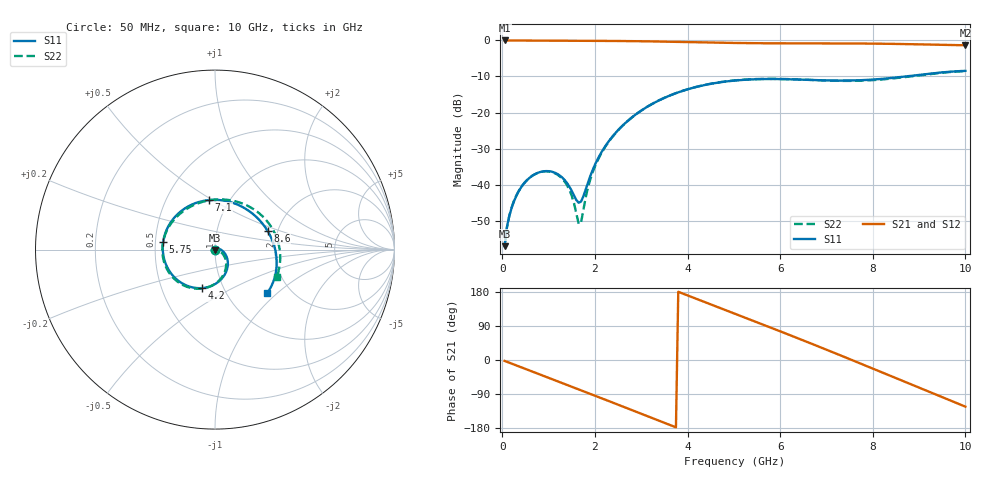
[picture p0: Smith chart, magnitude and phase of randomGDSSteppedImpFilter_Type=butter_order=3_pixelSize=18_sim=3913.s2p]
! freq	dB(S11)	phase(S11)	dB(S12)	phase(S12)
!  dB(S21)	phase(S21)	dB(S22)	phase(S22)
!S-par simulation data
#  GHz  S  DB  R 50
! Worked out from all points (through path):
!   200 points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, 50 MHz to 10 GHz, reference 50 ohm
!   highest |S21| = 0.00 dB at 50 MHz (marker M1); lowest = -1.3 dB at 10 GHz (marker M2)
!   group delay of S21, straight-line fit = 134 ps
!   lowest |S11| = -57.1 dB at 50 MHz (marker M3), VSWR 1.00, Z = 50 - j0.139 ohm
!   |S11| at or under -10 dB: start of sweep to 8.702 GHz
!   |S22| runs from -56.9 to -8.5 dB; largest |S21 - S12| = 0
!   S11 on the Smith chart (normalised r, x): 50 MHz: 1.00, -0.00; 4.2 GHz: 0.79, -0.36; 5.75 GHz: 0.55, +0.05; 7.1 GHz: 0.81, +0.48; 8.6 GHz: 1.77, +0.41; 10 GHz: 1.52, -0.86
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0.05  -57.07 -84.6  -0.00 -2.4  -0.00 -2.4  -56.91 -79.8
0.15  -48.76 -91.6  -0.01 -7.1  -0.01 -7.1  -48.71 -90.3
0.3  -43.20 -104.2  -0.03 -14.1  -0.03 -14.1  -43.08 -100.9
0.75  -36.81 -130.9  -0.05 -35.3  -0.05 -35.3  -36.84 -122.8
1.3  -38.10 -169.0  -0.07 -61.1  -0.07 -61.1  -38.43 -143.2
1.5  -41.75 163.6  -0.08 -70.5  -0.08 -70.5  -43.09 -142.4
1.65  -45.04 113.4  -0.09 -77.6  -0.09 -77.6  -50.92 -100.2
1.75  -43.28 67.6  -0.09 -82.3  -0.09 -82.3  -47.03 -32.6
1.95  -35.99 23.3  -0.10 -91.8  -0.10 -91.8  -36.64 -15.2
2.25  -28.84 -3.8  -0.13 -106.0  -0.13 -106.0  -28.99 -22.7
2.75  -21.86 -34.1  -0.18 -129.8  -0.18 -129.8  -21.88 -43.2
3.4  -16.53 -68.6  -0.30 -160.9  -0.30 -160.9  -16.52 -72.2
4.2  -12.86 -109.3  -0.51 160.9  -0.51 160.9  -12.84 -107.9
5.05  -11.09 -152.3  -0.70 120.8  -0.70 120.8  -11.05 -145.3
5.75  -10.70 171.3  -0.79 87.7  -0.79 87.7  -10.65 -175.4
6.7  -10.98 119.4  -0.81 41.9  -0.81 41.9  -10.98 143.6
7.1  -11.12 96.9  -0.82 22.3  -0.82 22.3  -11.16 126.0
7.7  -11.05 64.1  -0.85 -7.6  -0.85 -7.6  -11.18 98.1
8.35  -10.48 31.4  -0.93 -40.2  -0.93 -40.2  -10.65 65.5
8.6  -10.15 19.7  -0.98 -52.9  -0.98 -52.9  -10.30 52.3
9.3  -9.12 -10.9  -1.16 -88.1  -1.16 -88.1  -9.22 14.4
10  -8.44 -39.9  -1.34 -123.1  -1.34 -123.1  -8.51 -23.7
